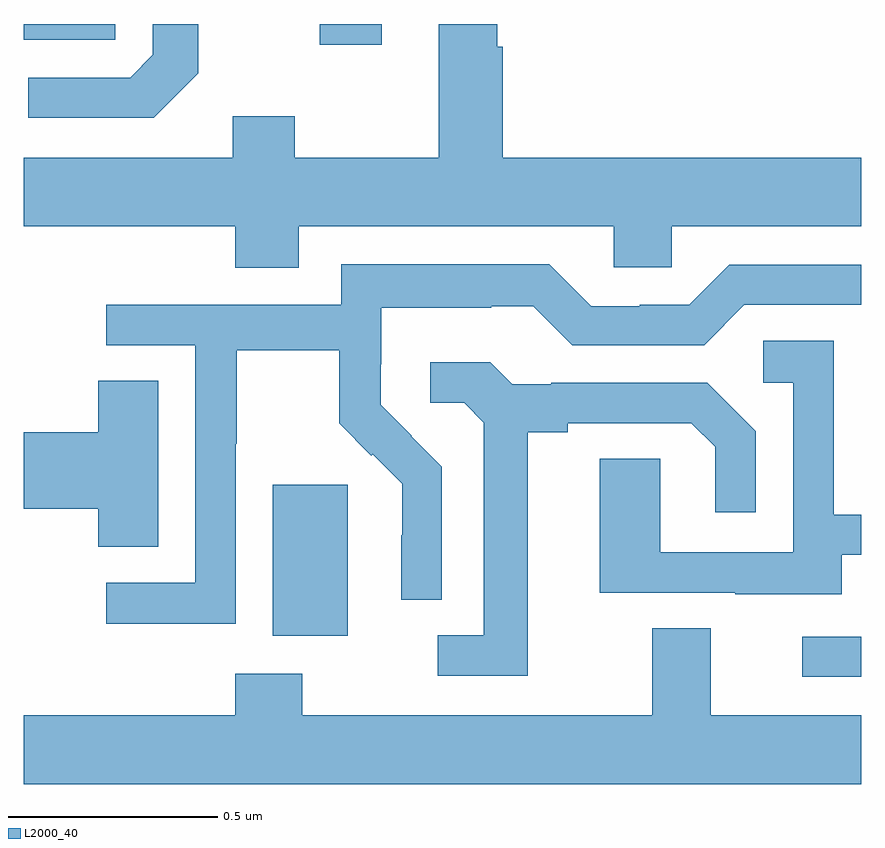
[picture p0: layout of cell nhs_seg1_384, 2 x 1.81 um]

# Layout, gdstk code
import gdstk
lib = gdstk.Library(unit=1e-6, precision=1e-09)
def R(c, l, rs):  # rectangles x0, y0, x1, y1
    for r in rs: c.add(gdstk.rectangle(r[:2], r[2:], *l))
def P(c, l, *ps):  # polygons
    for p in ps: c.add(gdstk.Polygon(p, *l))
L2000_40 = (2000, 40)

nhs_seg1_384 = lib.new_cell('nhs_seg1_384')
R(nhs_seg1_384, L2000_40, [(116.859,566.64,117,566.736), (115.595,566.738,115.774,567.099), (115.707,568.149,115.855,568.199), (115,568.161,115.218,568.199)])
P(nhs_seg1_384, L2000_40, [(115.657,567.716),(116.409,567.716),(116.409,567.618),(116.547,567.618),(116.547,567.716),(117,567.716),(117,567.88),(116.144,567.88),(116.144,568.145),(116.131,568.145),(116.131,568.199),(115.991,568.199),(115.991,567.88),(115.647,567.88),(115.647,567.979),(115.499,567.979),(115.499,567.88),(115,567.88),(115,567.716),(115.505,567.716),(115.505,567.617),(115.657,567.617)],
  [(115.417,568.081),(115.417,568.199),(115.308,568.199),(115.308,568.125),(115.254,568.071),(115.011,568.071),(115.011,567.975),(115.311,567.975)],
  [(115.506,567.196),(115.509,567.196),(115.509,567.42),(115.753,567.42),(115.753,567.245),(115.83,567.168),(115.833,567.171),(115.904,567.101),(115.904,566.978),(115.902,566.978),(115.902,566.824),(115.998,566.824),(115.998,567.142),(115.925,567.215),(115.926,567.216),(115.852,567.29),(115.852,567.387),(115.854,567.387),(115.854,567.521),(116.117,567.521),(116.117,567.525),(116.217,567.525),(116.31,567.432),(116.625,567.432),(116.721,567.528),(117,567.528),(117,567.624),(116.685,567.624),(116.589,567.528),(116.471,567.528),(116.471,567.525),(116.355,567.525),(116.255,567.625),(115.758,567.625),(115.758,567.528),(115.197,567.528),(115.197,567.432),(115.41,567.432),(115.41,566.865),(115.197,566.865),(115.197,566.767),(115.506,566.767)],
  [(116.953,566.931),(117,566.931),(117,567.027),(116.934,567.027),(116.934,567.443),(116.766,567.443),(116.766,567.342),(116.838,567.342),(116.838,566.937),(116.52,566.937),(116.52,567.161),(116.375,567.161),(116.375,566.841),(116.699,566.841),(116.699,566.837),(116.953,566.837)],
  [(116.203,567.224),(116.299,567.224),(116.299,567.246),(116.594,567.246),(116.651,567.189),(116.651,567.033),(116.748,567.033),(116.748,567.226),(116.632,567.342),(116.26,567.342),(116.26,567.339),(116.166,567.339),(116.114,567.391),(115.971,567.391),(115.971,567.294),(116.052,567.294),(116.099,567.247),(116.099,566.739),(115.989,566.739),(115.989,566.643),(116.203,566.643)],
  [(115.321,567.347),(115.178,567.347),(115.178,567.224),(115,567.224),(115,567.041),(115.178,567.041),(115.178,566.95),(115.321,566.95)],
  [(117,566.548),(116.641,566.548),(116.641,566.756),(116.501,566.756),(116.501,566.548),(115.665,566.548),(115.665,566.647),(115.505,566.647),(115.505,566.548),(115,566.548),(115,566.384),(117,566.384)])

lib.write_gds('nhs_seg1_384.gds')
